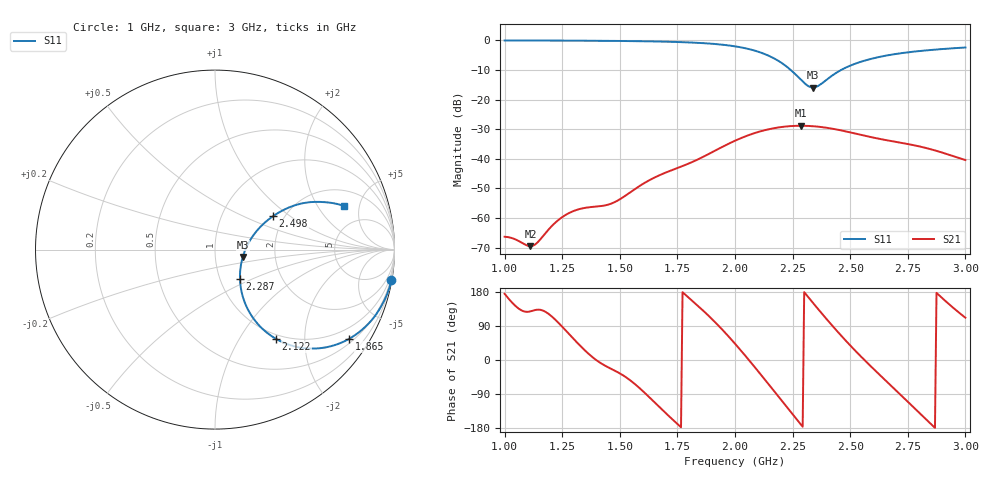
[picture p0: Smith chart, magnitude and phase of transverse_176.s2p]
! TOUCHSTONE file generated by CST MICROWAVE STUDIO
! Date and time: Tue Mar 11 13:57:22 2025
! Project name: transverse.cst
! Parameters = {Fracture=5; B=10; D=160; F=25; Feed=2.85625; L=100; M=20; R=0.384908; S=2; Theta=180; length=57.125; wave=114.25}
! Header version: 2024
! Port assignment regex: !\s*Touchstone port\s*([0-9]+)\s*=\s*(CST MWS port|CST DES external port|CST DES block port)\s*(.+)\s* \(\"(.*)\"\)(\s*mode\s*([0-9]+))?.*
! Touchstone port assignment:
! Touchstone port 1 = CST MWS port 1 ("")
! Touchstone port 2 = CST MWS port 2 ("")
# GHz S MA R 50
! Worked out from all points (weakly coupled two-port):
!   304 points, 1 GHz to 3 GHz, reference 50 ohm
!   highest |S21| = -28.83 dB at 2.287 GHz (marker M1); lowest = -69.5 dB at 1.112 GHz (marker M2)
!   lowest |S11| = -15.9 dB at 2.34 GHz (marker M3), VSWR 1.38, Z = 68.1 - j5.64 ohm
!   |S11| at or under -10 dB: 2.242 GHz to 2.46 GHz (218.2 MHz wide, 9.28 % of centre)
!   S12 and S22 are empty: the file has one direction only
!   S11 on the Smith chart (normalised r, x): 1 GHz: 0, -12; 1.865 GHz: 0.62, -3.20; 2.122 GHz: 0.93, -1.46; 2.287 GHz: 1.24, -0.43; 2.498 GHz: 1.75, +0.75; 3 GHz: 3.07, +3.51
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1  0.9976 -9.8  0.0004835 174.7  0 0.0  0 0.0
1.0396  0.9972 -10.3  0.0004484 147.0  0 0.0  0 0.0
1.11221  0.9962 -11.3  0.0003354 128.3  0 0.0  0 0.0
1.13861  0.9956 -11.8  0.0003746 132.5  0 0.0  0 0.0
1.20462  0.9937 -12.8  0.0007319 115.0  0 0.0  0 0.0
1.24422  0.9924 -13.5  0.0009999 91.5  0 0.0  0 0.0
1.33663  0.9887 -15.2  0.001456 32.3  0 0.0  0 0.0
1.46865  0.9805 -18.1  0.001792 -25.2  0 0.0  0 0.0
1.66667  0.9581 -24.1  0.005173 -120.9  0 0.0  0 0.0
1.86469  0.8976 -33.6  0.01096 128.6  0 0.0  0 0.0
2.0033  0.79 -44.2  0.0205 40.8  0 0.0  0 0.0
2.12211  0.6023 -55.7  0.02999 -46.0  0 0.0  0 0.0
2.20792  0.4022 -61.2  0.03472 -111.2  0 0.0  0 0.0
2.28713  0.2145 -49.5  0.0362 -171.1  0 0.0  0 0.0
2.32013  0.1676 -30.3  0.03592 164.2  0 0.0  0 0.0
2.33993  0.1601 -14.6  0.03552 149.6  0 0.0  0 0.0
2.36634  0.1755 4.4  0.03473 130.3  0 0.0  0 0.0
2.41914  0.2508 23.7  0.03245 92.8  0 0.0  0 0.0
2.49835  0.3724 29.9  0.02807 39.6  0 0.0  0 0.0
2.66997  0.5665 27.4  0.02023 -63.5  0 0.0  0 0.0
2.82838  0.6771 22.9  0.01528 -156.2  0 0.0  0 0.0
3  0.7585 18.7  0.009548 111.6  0 0.0  0 0.0
